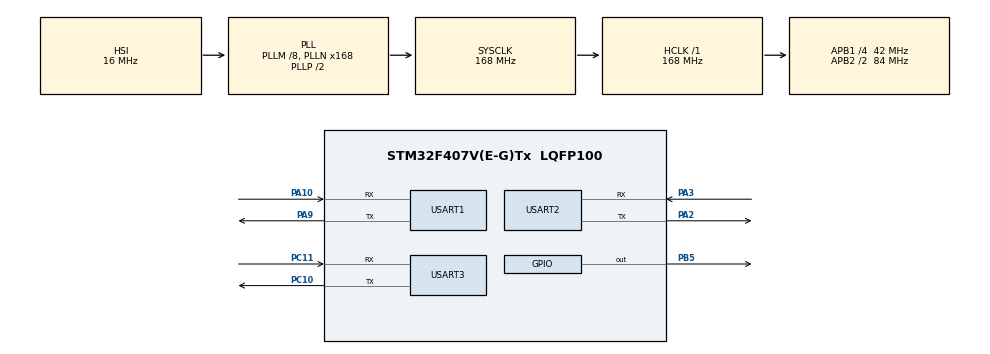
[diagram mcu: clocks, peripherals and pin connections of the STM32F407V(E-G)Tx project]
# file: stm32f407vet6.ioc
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Dma.Request0=USART2_RX
Dma.USART2_RX.0.Direction=DMA_PERIPH_TO_MEMORY
Dma.USART2_RX.0.FIFOMode=DMA_FIFOMODE_DISABLE
Dma.USART2_RX.0.Instance=DMA1_Stream5
Dma.USART2_RX.0.MemDataAlignment=DMA_MDATAALIGN_BYTE
Dma.USART2_RX.0.MemInc=DMA_MINC_ENABLE
Dma.USART2_RX.0.Mode=DMA_CIRCULAR
Dma.USART2_RX.0.PeriphDataAlignment=DMA_PDATAALIGN_BYTE
Dma.USART2_RX.0.PeriphInc=DMA_PINC_DISABLE
Dma.USART2_RX.0.Priority=DMA_PRIORITY_LOW
FREERTOS.Tasks01=defaultTask,24,128,StartDefaultTask,Default,NULL,Dynamic,NULL,NULL;USART1_Task,29,256,StartTask02,Default,NULL,Dynamic,NULL,NULL;USART2_Task,30,512,StartTask03,Default,NULL,Dynamic,NULL,NULL;USART3_Task,28,512,StartTask04,Default,NULL,Dynamic,NULL,NULL;Beeper_Task,26,128,StartTask05,Default,NULL,Dynamic,NULL,NULL
FREERTOS.configTOTAL_HEAP_SIZE=8192
FREERTOS.configUSE_NEWLIB_REENTRANT=1
Mcu.Family=STM32F4
Mcu.Name=STM32F407V(E-G)Tx
Mcu.Package=LQFP100
NVIC.DMA1_Stream5_IRQn=true\:5\:0\:false\:false\:true\:true\:false\:true\:true
NVIC.PriorityGroup=NVIC_PRIORITYGROUP_4
NVIC.TIM1_UP_TIM10_IRQn=true\:15\:0\:false\:false\:true\:false\:false\:true\:true
NVIC.TimeBase=TIM1_UP_TIM10_IRQn
NVIC.TimeBaseIP=TIM1
NVIC.USART1_IRQn=true\:5\:0\:false\:false\:true\:true\:true\:true\:true
NVIC.USART2_IRQn=true\:5\:0\:false\:false\:true\:true\:true\:true\:true
NVIC.USART3_IRQn=true\:5\:0\:false\:false\:true\:true\:true\:true\:true
PA10.Mode=Asynchronous
PA10.Signal=USART1_RX
PA13.Mode=Serial_Wire
PA13.Signal=SYS_JTMS-SWDIO
PA14.Mode=Serial_Wire
PA14.Signal=SYS_JTCK-SWCLK
PA2.Mode=Asynchronous
PA2.Signal=USART2_TX
PA3.Mode=Asynchronous
PA3.Signal=USART2_RX
PA9.Mode=Asynchronous
PA9.Signal=USART1_TX
PB5.Signal=GPIO_Output
PC10.Mode=Asynchronous
PC10.Signal=USART3_TX
PC11.Mode=Asynchronous
PC11.Signal=USART3_RX
PH0-OSC_IN.Mode=HSE-External-Oscillator
PH0-OSC_IN.Signal=RCC_OSC_IN
PH1-OSC_OUT.Mode=HSE-External-Oscillator
PH1-OSC_OUT.Signal=RCC_OSC_OUT
ProjectManager.HeapSize=0x200
ProjectManager.StackSize=0x400
ProjectManager.TargetToolchain=STM32CubeIDE
RCC.48MHZClocksFreq_Value=84000000
RCC.AHBFreq_Value=168000000
RCC.APB1CLKDivider=RCC_HCLK_DIV4
RCC.APB1Freq_Value=42000000
RCC.APB1TimFreq_Value=84000000
RCC.APB2CLKDivider=RCC_HCLK_DIV2
RCC.APB2Freq_Value=84000000
RCC.APB2TimFreq_Value=168000000
RCC.CortexFreq_Value=168000000
RCC.HCLKFreq_Value=168000000
RCC.HSE_VALUE=8000000
RCC.HSI_VALUE=16000000
RCC.LSE_VALUE=32768
RCC.PLLM=8
RCC.PLLN=168
RCC.SYSCLKFreq_VALUE=168000000
RCC.SYSCLKSource=RCC_SYSCLKSOURCE_PLLCLK
RCC.VCOOutputFreq_Value=336000000
USART1.VirtualMode=VM_ASYNC
USART2.VirtualMode=VM_ASYNC
USART3.VirtualMode=VM_ASYNC
VP_FREERTOS_VS_CMSIS_V2.Mode=CMSIS_V2
VP_SYS_VS_tim1.Mode=TIM1
board=custom

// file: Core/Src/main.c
/* USER CODE BEGIN Header */
/**
  ******************************************************************************
  * @file           : main.c
  * @brief          : Main program body
  ******************************************************************************
  * @attention
  *
  * Copyright (c) 2025 STMicroelectronics.
  * All rights reserved.
  *
  * This software is licensed under terms that can be found in the LICENSE file
  * in the root directory of this software component.
  * If no LICENSE file comes with this software, it is provided AS-IS.
  *
  ******************************************************************************
  */
/* USER CODE END Header */
#include "main.h"
#include "cmsis_os.h"

/* USER CODE BEGIN Includes */
#include "esp8266.h"
#include "k210_protocol.h"
#include <string.h>
#include <stdio.h>

/* USER CODE END Includes */

UART_HandleTypeDef huart1;
UART_HandleTypeDef huart2;
UART_HandleTypeDef huart3;
DMA_HandleTypeDef hdma_usart2_rx;

/* Definitions for defaultTask */
osThreadId_t defaultTaskHandle;
const osThreadAttr_t defaultTask_attributes = {
  .name = "defaultTask",
  .stack_size = 128 * 4,
  .priority = (osPriority_t) osPriorityNormal,
};
/* Definitions for USART1_Task */
osThreadId_t USART1_TaskHandle;
const osThreadAttr_t USART1_Task_attributes = {
  .name = "USART1_Task",
  .stack_size = 256 * 4,
  .priority = (osPriority_t) osPriorityNormal5,
};
/* Definitions for USART2_Task */
osThreadId_t USART2_TaskHandle;
const osThreadAttr_t USART2_Task_attributes = {
  .name = "USART2_Task",
  .stack_size = 512 * 4,
  .priority = (osPriority_t) osPriorityNormal6,
};
/* Definitions for USART3_Task */
osThreadId_t USART3_TaskHandle;
const osThreadAttr_t USART3_Task_attributes = {
  .name = "USART3_Task",
  .stack_size = 512 * 4,
  .priority = (osPriority_t) osPriorityNormal4,
};
/* Definitions for Beeper_Task */
osThreadId_t Beeper_TaskHandle;
const osThreadAttr_t Beeper_Task_attributes = {
  .name = "Beeper_Task",
  .stack_size = 128 * 4,
  .priority = (osPriority_t) osPriorityNormal2,
};
/* USER CODE BEGIN PV */
// USART1接收变量
uint8_t usart1_rx_byte = 0;
uint8_t usart1_rx_buffer[8];
uint8_t usart1_state = 0;
uint8_t usart1_data_count = 0;
// 完整帧缓冲: [0]=0xAA, [1..3]=payload, [4]=0x55
uint8_t usart1_frame[5];

// USART2 DMA接收缓冲区
uint8_t usart2_dma_buffer[256];
uint8_t usart2_rx_buffer[1024];
volatile uint16_t usart2_rx_len = 0;
volatile uint8_t usart2_data_ready = 0;

// 蜂鸣器控制
osMessageQueueId_t beepQueueHandle;
typedef struct {
  uint16_t duration_ms;
  uint8_t times;
} BeepCommand_t;

/* USER CODE END PV */

void SystemClock_Config(void);
static void MX_GPIO_Init(void);
static void MX_DMA_Init(void);
static void MX_USART1_UART_Init(void);
static void MX_USART2_UART_Init(void);
static void MX_USART3_UART_Init(void);
void StartDefaultTask(void *argument);
void StartTask02(void *argument);
void StartTask03(void *argument);
void StartTask04(void *argument);
void StartTask05(void *argument);

/* USER CODE BEGIN PFP */
void USART2_IDLE_Callback(void);
void Beeper_Beep(uint16_t duration_ms, uint8_t times);

/* USER CODE END PFP */

int main(void)
{

  /* MCU Configuration--------------------------------------------------------*/

  /* Reset of all peripherals, Initializes the Flash interface and the Systick. */
  HAL_Init();

  /* Configure the system clock */
  SystemClock_Config();

  /* Initialize all configured peripherals */
  MX_GPIO_Init();
  MX_DMA_Init();
  MX_USART1_UART_Init();
  MX_USART2_UART_Init();
  MX_USART3_UART_Init();
  /* USER CODE BEGIN 2 */
  /* USER CODE BEGIN 2 */
  // 初始化ESP8266
  ESP8266_Init();

  // 开启USART1中断接收
  if (HAL_UART_Receive_IT(&huart1, &usart1_rx_byte, 1) != HAL_OK) {
    Error_Handler();
  }

  // 开启USART2 DMA接收
  if (HAL_UART_Receive_DMA(&huart2, usart2_dma_buffer, sizeof(usart2_dma_buffer)) != HAL_OK) {
    Error_Handler();
  }
  __HAL_UART_ENABLE_IT(&huart2, UART_IT_IDLE);

  printf("System Initialized!\r\n");

  /* USER CODE END 2 */

  /* Init scheduler */
  osKernelInitialize();

  /* USER CODE BEGIN RTOS_QUEUES */
  /* add queues, ... */
  beepQueueHandle = osMessageQueueNew(10, sizeof(BeepCommand_t), NULL);
  /* USER CODE END RTOS_QUEUES */

  /* Create the thread(s) */
  /* creation of defaultTask */
  defaultTaskHandle = osThreadNew(StartDefaultTask, NULL, &defaultTask_attributes);

  /* creation of USART1_Task */
  USART1_TaskHandle = osThreadNew(StartTask02, NULL, &USART1_Task_attributes);

  /* creation of USART2_Task */
  USART2_TaskHandle = osThreadNew(StartTask03, NULL, &USART2_Task_attributes);

  /* creation of USART3_Task */
  USART3_TaskHandle = osThreadNew(StartTask04, NULL, &USART3_Task_attributes);

  /* creation of Beeper_Task */
  Beeper_TaskHandle = osThreadNew(StartTask05, NULL, &Beeper_Task_attributes);

  /* Start scheduler */
  osKernelStart();

  /* We should never get here as control is now taken by the scheduler */

  /* Infinite loop */
  while (1)
  {

  }
}

void SystemClock_Config(void)
{
  RCC_OscInitTypeDef RCC_OscInitStruct = {0};
  RCC_ClkInitTypeDef RCC_ClkInitStruct = {0};

  /** Configure the main internal regulator output voltage
  */
  __HAL_RCC_PWR_CLK_ENABLE();
  __HAL_PWR_VOLTAGESCALING_CONFIG(PWR_REGULATOR_VOLTAGE_SCALE1);

  /** Initializes the RCC Oscillators according to the specified parameters
  * in the RCC_OscInitTypeDef structure.
  */
  RCC_OscInitStruct.OscillatorType = RCC_OSCILLATORTYPE_HSI;
  RCC_OscInitStruct.HSIState = RCC_HSI_ON;
  RCC_OscInitStruct.HSICalibrationValue = RCC_HSICALIBRATION_DEFAULT;
  RCC_OscInitStruct.PLL.PLLState = RCC_PLL_ON;
  RCC_OscInitStruct.PLL.PLLSource = RCC_PLLSOURCE_HSI;
  RCC_OscInitStruct.PLL.PLLM = 8;
  RCC_OscInitStruct.PLL.PLLN = 168;
  RCC_OscInitStruct.PLL.PLLP = RCC_PLLP_DIV2;
  RCC_OscInitStruct.PLL.PLLQ = 4;
  if (HAL_RCC_OscConfig(&RCC_OscInitStruct) != HAL_OK)
  {
    Error_Handler();
  }

  /** Initializes the CPU, AHB and APB buses clocks
  */
  RCC_ClkInitStruct.ClockType = RCC_CLOCKTYPE_HCLK|RCC_CLOCKTYPE_SYSCLK
                              |RCC_CLOCKTYPE_PCLK1|RCC_CLOCKTYPE_PCLK2;
  RCC_ClkInitStruct.SYSCLKSource = RCC_SYSCLKSOURCE_PLLCLK;
  RCC_ClkInitStruct.AHBCLKDivider = RCC_SYSCLK_DIV1;
  RCC_ClkInitStruct.APB1CLKDivider = RCC_HCLK_DIV4;
  RCC_ClkInitStruct.APB2CLKDivider = RCC_HCLK_DIV2;

  if (HAL_RCC_ClockConfig(&RCC_ClkInitStruct, FLASH_LATENCY_5) != HAL_OK)
  {
    Error_Handler();
  }
}

static void MX_USART1_UART_Init(void)
{

  huart1.Instance = USART1;
  huart1.Init.BaudRate = 115200;
  huart1.Init.WordLength = UART_WORDLENGTH_8B;
  huart1.Init.StopBits = UART_STOPBITS_1;
  huart1.Init.Parity = UART_PARITY_NONE;
  huart1.Init.Mode = UART_MODE_TX_RX;
  huart1.Init.HwFlowCtl = UART_HWCONTROL_NONE;
  huart1.Init.OverSampling = UART_OVERSAMPLING_16;
  if (HAL_UART_Init(&huart1) != HAL_OK)
  {
    Error_Handler();
  }

}

static void MX_USART2_UART_Init(void)
{

  huart2.Instance = USART2;
  huart2.Init.BaudRate = 115200;
  huart2.Init.WordLength = UART_WORDLENGTH_8B;
  huart2.Init.StopBits = UART_STOPBITS_1;
  huart2.Init.Parity = UART_PARITY_NONE;
  huart2.Init.Mode = UART_MODE_TX_RX;
  huart2.Init.HwFlowCtl = UART_HWCONTROL_NONE;
  huart2.Init.OverSampling = UART_OVERSAMPLING_16;
  if (HAL_UART_Init(&huart2) != HAL_OK)
  {
    Error_Handler();
  }

}

static void MX_USART3_UART_Init(void)
{

  huart3.Instance = USART3;
  huart3.Init.BaudRate = 115200;
  huart3.Init.WordLength = UART_WORDLENGTH_8B;
  huart3.Init.StopBits = UART_STOPBITS_1;
  huart3.Init.Parity = UART_PARITY_NONE;
  huart3.Init.Mode = UART_MODE_TX_RX;
  huart3.Init.HwFlowCtl = UART_HWCONTROL_NONE;
  huart3.Init.OverSampling = UART_OVERSAMPLING_16;
  if (HAL_UART_Init(&huart3) != HAL_OK)
  {
    Error_Handler();
  }

}

static void MX_DMA_Init(void)
{

  /* DMA controller clock enable */
  __HAL_RCC_DMA1_CLK_ENABLE();

  /* DMA interrupt init */
  /* DMA1_Stream5_IRQn interrupt configuration */
  HAL_NVIC_SetPriority(DMA1_Stream5_IRQn, 5, 0);
  HAL_NVIC_EnableIRQ(DMA1_Stream5_IRQn);

}

static void MX_GPIO_Init(void)
{
  GPIO_InitTypeDef GPIO_InitStruct = {0};

  /* GPIO Ports Clock Enable */
  __HAL_RCC_GPIOH_CLK_ENABLE();
  __HAL_RCC_GPIOA_CLK_ENABLE();
  __HAL_RCC_GPIOC_CLK_ENABLE();
  __HAL_RCC_GPIOB_CLK_ENABLE();

  /*Configure GPIO pin Output Level */
  HAL_GPIO_WritePin(GPIOB, GPIO_PIN_5, GPIO_PIN_RESET);

  /*Configure GPIO pin : PB5 */
  GPIO_InitStruct.Pin = GPIO_PIN_5;
  GPIO_InitStruct.Mode = GPIO_MODE_OUTPUT_PP;
  GPIO_InitStruct.Pull = GPIO_NOPULL;
  GPIO_InitStruct.Speed = GPIO_SPEED_FREQ_LOW;
  HAL_GPIO_Init(GPIOB, &GPIO_InitStruct);

}

/* USER CODE BEGIN 4 */
// USART1接收中断回调
void HAL_UART_RxCpltCallback(UART_HandleTypeDef *huart)
{
  if (huart->Instance == USART1) {
    static uint8_t state = 0;
    static uint8_t data_count = 0;

    switch(state) {
      case 0:
        if (usart1_rx_byte == 0xAA) {
          state = 1;
          data_count = 0;
          usart1_frame[0] = 0xAA;
        }
        break;
      case 1:
        if (data_count < 3) {
          usart1_frame[1 + data_count] = usart1_rx_byte;
          usart1_rx_buffer[data_count] = usart1_rx_byte; // keep legacy buffer
          data_count++;
        }
        if (data_count >= 3) state = 2;
        break;
      case 2:
        if (usart1_rx_byte == 0x55) {
          usart1_frame[4] = 0x55;
          // trigger beep
          BeepCommand_t beep_cmd = {100, 1};
          osMessageQueuePut(beepQueueHandle, &beep_cmd, 0, 0);
          // forward full frame to USART3
          HAL_UART_Transmit(&huart3, usart1_frame, 5, 100);
        }
        state = 0;
        break;
    }

    HAL_UART_Receive_IT(&huart1, &usart1_rx_byte, 1);
  }
}

// USART2 IDLE处理
void USART2_IDLE_Callback(void)
{
  uint16_t dma_remaining = __HAL_DMA_GET_COUNTER(&hdma_usart2_rx);
  usart2_rx_len = sizeof(usart2_dma_buffer) - dma_remaining;
  if (usart2_rx_len > 0) {
    memcpy(usart2_rx_buffer, usart2_dma_buffer, usart2_rx_len);
    usart2_data_ready = 1;
    HAL_UART_Receive_DMA(&huart2, usart2_dma_buffer, sizeof(usart2_dma_buffer));
  }
}

void Beeper_Beep(uint16_t duration_ms, uint8_t times)
{
  BeepCommand_t beep_cmd = {duration_ms, times};
  osMessageQueuePut(beepQueueHandle, &beep_cmd, 0, 0);
}

int __io_putchar(int ch)
{
  HAL_UART_Transmit(&huart2, (uint8_t*)&ch, 1, 10);
  return ch;
}

/* USER CODE END 4 */

void StartDefaultTask(void *argument)
{
  for(;;)
  {
    osDelay(1);
  }
}

void StartTask02(void *argument)
{
  /* USER CODE BEGIN StartTask02 */
  /* USART1 task: main work handled in IRQ callback */
  for(;;)
  {
    osDelay(100);
  }
  /* USER CODE END StartTask02 */
}

void StartTask03(void *argument)
{
  /* USER CODE BEGIN StartTask03 */
  uint8_t protocol_buffer[256];
  uint16_t protocol_len = 0;
  for(;;)
  {
    if (usart2_data_ready) {
      usart2_data_ready = 0;
      for (uint16_t i = 0; i < usart2_rx_len; i++) {
        if (K210_ParseByte(usart2_rx_buffer[i], protocol_buffer, &protocol_len)) {
          K210_ProcessFrame(protocol_buffer, protocol_len);
        }
      }
    }
    osDelay(10);
  }
  /* USER CODE END StartTask03 */
}

void StartTask04(void *argument)
{
  /* USER CODE BEGIN StartTask04 */
  for(;;)
  {
    ESP8266_Process();
    osDelay(10);
  }
  /* USER CODE END StartTask04 */
}

void StartTask05(void *argument)
{
  /* USER CODE BEGIN StartTask05 */
  BeepCommand_t beep_cmd;
  osStatus_t status;
  for(;;)
  {
    status = osMessageQueueGet(beepQueueHandle, &beep_cmd, NULL, osWaitForever);
    if (status == osOK) {
      for (uint8_t i = 0; i < beep_cmd.times; i++) {
        HAL_GPIO_WritePin(GPIOB, GPIO_PIN_5, GPIO_PIN_SET);
        osDelay(beep_cmd.duration_ms);
        HAL_GPIO_WritePin(GPIOB, GPIO_PIN_5, GPIO_PIN_RESET);
        if (i < beep_cmd.times - 1) {
          osDelay(100);
        }
      }
    }
  }
  /* USER CODE END StartTask05 */
}

void HAL_TIM_PeriodElapsedCallback(TIM_HandleTypeDef *htim)
{
  if (htim->Instance == TIM1)
  {
    HAL_IncTick();
  }
}

void Error_Handler(void)
{
  __disable_irq();
  while (1)
  {
  }
}
